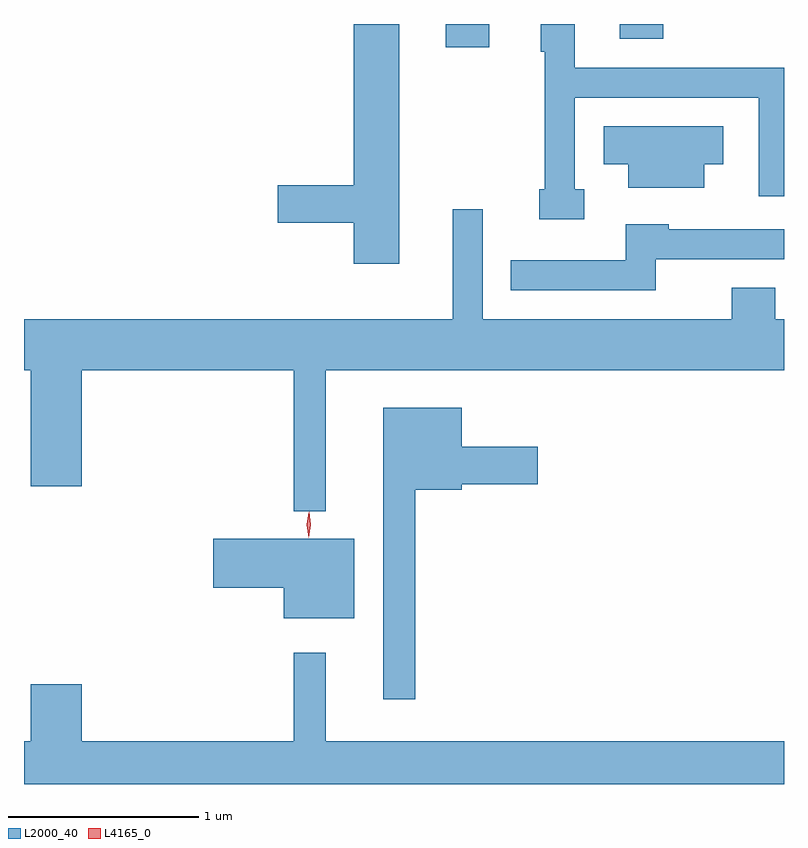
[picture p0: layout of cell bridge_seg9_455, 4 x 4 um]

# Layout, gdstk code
import gdstk
lib = gdstk.Library(unit=1e-6, precision=1e-09)
def R(c, l, rs):  # rectangles x0, y0, x1, y1
    for r in rs: c.add(gdstk.rectangle(r[:2], r[2:], *l))
def P(c, l, *ps):  # polygons
    for p in ps: c.add(gdstk.Polygon(p, *l))
L2000_40 = (2000, 40)
L4165_0 = (4165, 0)

bridge_seg9_455 = lib.new_cell('bridge_seg9_455')
R(bridge_seg9_455, L2000_40, [(576.901,2004.616,577.129,2004.738), (577.816,2004.661,578.044,2004.738)])
P(bridge_seg9_455, L2000_40, [(577.628,2003.869),(577.579,2003.869),(577.579,2004.351),(578.546,2004.351),(578.546,2003.831),(578.68,2003.831),(578.68,2004.509),(577.579,2004.509),(577.579,2004.738),(577.401,2004.738),(577.401,2004.591),(577.421,2004.591),(577.421,2003.869),(577.391,2003.869),(577.391,2003.711),(577.628,2003.711)],
  [(576.654,2004.738),(576.416,2004.738),(576.416,2003.889),(576.016,2003.889),(576.016,2003.691),(576.416,2003.691),(576.416,2003.476),(576.654,2003.476)],
  [(578.259,2004.001),(578.359,2004.001),(578.359,2004.199),(577.731,2004.199),(577.731,2004.001),(577.861,2004.001),(577.861,2003.876),(578.259,2003.876)],
  [(576.269,2002.916),(578.68,2002.916),(578.68,2003.184),(578.634,2003.184),(578.634,2003.349),(578.406,2003.349),(578.406,2003.184),(577.094,2003.184),(577.094,2003.763),(576.936,2003.763),(576.936,2003.184),(574.68,2003.184),(574.68,2002.916),(574.716,2002.916),(574.716,2002.306),(574.984,2002.306),(574.984,2002.916),(576.101,2002.916),(576.101,2002.173),(576.269,2002.173)],
  [(578.004,2003.501),(578.68,2003.501),(578.68,2003.659),(578.074,2003.659),(578.074,2003.684),(577.846,2003.684),(577.846,2003.494),(577.243,2003.494),(577.243,2003.336),(578.004,2003.336)],
  [(576.739,2002.286),(576.984,2002.286),(576.984,2002.316),(577.384,2002.316),(577.384,2002.514),(576.984,2002.514),(576.984,2002.719),(576.571,2002.719),(576.571,2001.183),(576.739,2001.183)],
  [(576.419,2002.029),(575.676,2002.029),(575.676,2001.771),(576.046,2001.771),(576.046,2001.611),(576.419,2001.611)],
  [(578.68,2000.964),(576.269,2000.964),(576.269,2001.428),(576.101,2001.428),(576.101,2000.964),(574.984,2000.964),(574.984,2001.264),(574.716,2001.264),(574.716,2000.964),(574.68,2000.964),(574.68,2000.738),(578.68,2000.738)])
P(bridge_seg9_455, L4165_0, [(576.178,2002.034),(576.178,2002.034),(576.169,2002.102),(576.18,2002.17),(576.18,2002.17),(576.181,2002.17),(576.189,2002.102),(576.179,2002.034)],
  [(576.178,2002.04),(576.178,2002.041),(576.169,2002.104),(576.179,2002.166),(576.18,2002.167),(576.18,2002.166),(576.189,2002.103),(576.178,2002.041)])

lib.write_gds('bridge_seg9_455.gds')
